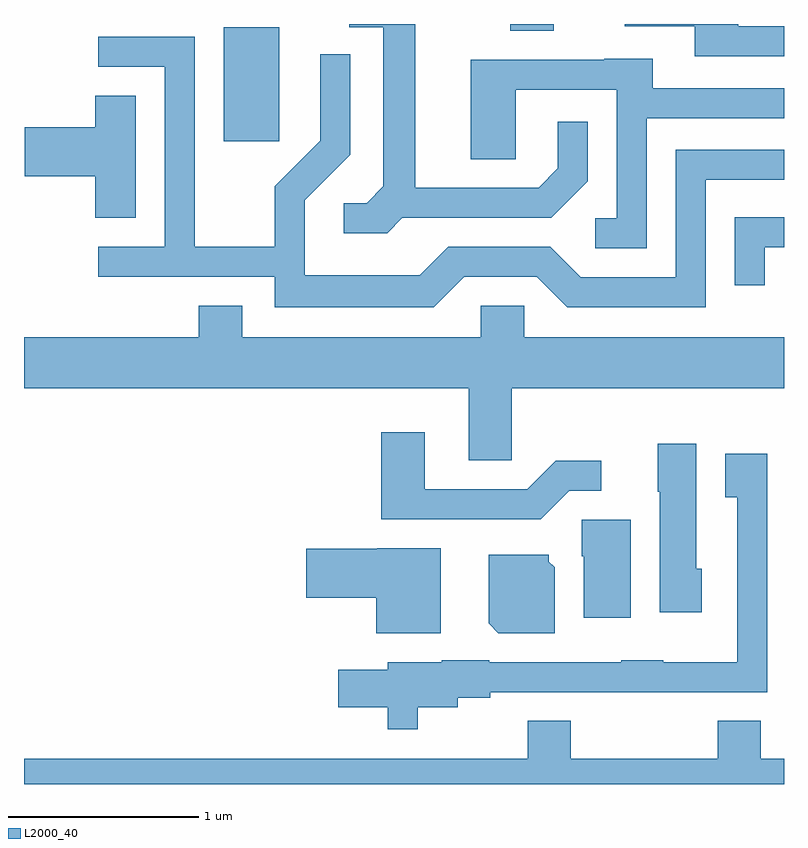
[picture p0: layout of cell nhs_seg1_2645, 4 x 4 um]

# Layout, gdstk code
import gdstk
lib = gdstk.Library(unit=1e-6, precision=1e-09)
def R(c, l, rs):  # rectangles x0, y0, x1, y1
    for r in rs: c.add(gdstk.rectangle(r[:2], r[2:], *l))
def P(c, l, *ps):  # polygons
    for p in ps: c.add(gdstk.Polygon(p, *l))
L2000_40 = (2000, 40)

nhs_seg1_2645 = lib.new_cell('nhs_seg1_2645')
R(nhs_seg1_2645, L2000_40, [(266.661,903.096,266.954,903.694), (268.171,903.676,268.399,903.712)])
P(nhs_seg1_2645, L2000_40, [(269.611,903.699),(269.369,903.699),(269.369,903.712),(268.773,903.712),(268.773,903.701),(269.141,903.701),(269.141,903.541),(269.611,903.541)],
  [(267.602,902.691),(268.387,902.691),(268.579,902.884),(268.579,903.198),(268.421,903.198),(268.421,902.952),(268.319,902.849),(267.669,902.849),(267.669,903.712),(267.323,903.712),(267.323,903.696),(267.501,903.696),(267.501,902.857),(267.414,902.769),(267.293,902.769),(267.293,902.611),(267.522,902.611)],
  [(267.927,902.381),(268.309,902.381),(268.469,902.221),(269.199,902.221),(269.199,902.891),(269.611,902.891),(269.611,903.049),(269.041,903.049),(269.041,902.379),(268.542,902.379),(268.382,902.539),(267.844,902.539),(267.694,902.389),(267.089,902.389),(267.089,902.784),(267.329,903.024),(267.329,903.553),(267.171,903.553),(267.171,903.097),(266.931,902.857),(266.931,902.539),(266.509,902.539),(266.509,903.644),(266.003,903.644),(266.003,903.486),(266.351,903.486),(266.351,902.539),(266.003,902.539),(266.003,902.381),(266.931,902.381),(266.931,902.221),(267.767,902.221)],
  [(268.889,903.216),(269.611,903.216),(269.611,903.374),(268.919,903.374),(268.919,903.529),(268.665,903.529),(268.665,903.524),(267.961,903.524),(267.961,903.001),(268.199,903.001),(268.199,903.366),(268.731,903.366),(268.731,902.689),(268.618,902.689),(268.618,902.531),(268.889,902.531)],
  [(266.199,903.334),(265.986,903.334),(265.986,903.169),(265.616,903.169),(265.616,902.911),(265.986,902.911),(265.986,902.691),(266.199,902.691)],
  [(269.509,902.536),(269.611,902.536),(269.611,902.694),(269.351,902.694),(269.351,902.338),(269.509,902.338)],
  [(268.179,901.796),(269.611,901.796),(269.611,902.064),(268.244,902.064),(268.244,902.229),(268.016,902.229),(268.016,902.064),(266.759,902.064),(266.759,902.229),(266.531,902.229),(266.531,902.064),(265.611,902.064),(265.611,901.796),(267.951,901.796),(267.951,901.416),(268.179,901.416)],
  [(268.482,901.256),(268.648,901.256),(268.648,901.414),(268.409,901.414),(268.259,901.264),(267.719,901.264),(267.719,901.564),(267.491,901.564),(267.491,901.106),(268.332,901.106)],
  [(269.179,900.844),(269.149,900.844),(269.149,901.504),(268.946,901.504),(268.946,901.25),(268.956,901.25),(268.956,900.616),(269.179,900.616)],
  [(267.684,900.116),(267.894,900.116),(267.894,900.166),(268.064,900.166),(268.064,900.196),(269.524,900.196),(269.524,901.449),(269.301,901.449),(269.301,901.221),(269.366,901.221),(269.366,900.354),(268.975,900.354),(268.975,900.364),(268.755,900.364),(268.755,900.354),(268.06,900.354),(268.06,900.364),(267.81,900.364),(267.81,900.354),(267.526,900.354),(267.526,900.314),(267.266,900.314),(267.266,900.116),(267.526,900.116),(267.526,900.001),(267.684,900.001)],
  [(268.804,901.104),(268.546,901.104),(268.546,900.91),(268.556,900.91),(268.556,900.586),(268.804,900.586)],
  [(267.804,900.954),(267.47,900.954),(267.47,900.949),(267.096,900.949),(267.096,900.691),(267.466,900.691),(267.466,900.506),(267.804,900.506)],
  [(268.404,900.852),(268.374,900.882),(268.374,900.919),(268.056,900.919),(268.056,900.557),(268.107,900.506),(268.404,900.506)],
  [(269.611,899.844),(269.489,899.844),(269.489,900.044),(269.261,900.044),(269.261,899.844),(268.489,899.844),(268.489,900.044),(268.261,900.044),(268.261,899.844),(265.611,899.844),(265.611,899.712),(269.611,899.712)])

lib.write_gds('nhs_seg1_2645.gds')
